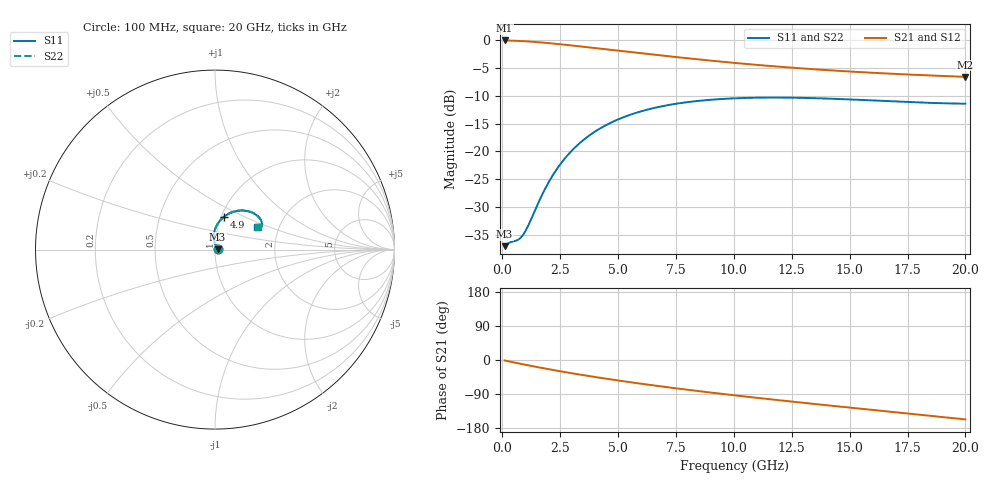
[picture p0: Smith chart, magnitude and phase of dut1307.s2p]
! Touchstone file exported from HFSS 2024.1.0
!  File:  C:/UserFiles/LocalFiles/RDL_TSV_Batchsim/temp_RDL_TSV_1307_1780383729.aedt
!  Generated:  03:18:19 PM Jun  2, 2026
!  Design:  RDL_TSV
!  Project:  temp_RDL_TSV_1307_1780383729
!  Setup:  Setup1
!  Solution:  Sweep
! Variables:
!  dtsv = 8.35um
!  hbump = 3um
!  htsv = 58.99um
!  ldown = 477.18um
!  lrdl = 210.23um
!  p = 40
!  p1 = 41.15um
!  rhole = 10um
!  subl = 2272.46um
!  t = 450um
!  tdown = 4.49um
!  trdl = 3.38um
!  viad = 10um
!  wdown = 25.2um
!  wrdl = 10.06um
!  xbump = 18um
# GHz S MA R 50.000000
! Terminal data exported
! Port[1] = TM1_1_T1
! Port[2] = TM1_4_T1
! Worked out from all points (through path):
!   200 points, 100 MHz to 20 GHz, reference 50 ohm
!   highest |S21| = -0.13 dB at 100 MHz (marker M1); lowest = -6.6 dB at 20 GHz (marker M2)
!   group delay of S21, straight-line fit = 20.7 ps
!   lowest |S11| = -37.0 dB at 100 MHz (marker M3), VSWR 1.03, Z = 51.4 + j0.211 ohm
!   |S11| at or under -10 dB: start of sweep to end of sweep
!   |S22| runs from -37.0 to -10.3 dB; largest |S21 - S12| = 9e-15
!   S11 on the Smith chart (normalised r, x): 100 MHz: 1.03, +0.00; 4.9 GHz: 1.03, +0.39; 20 GHz: 1.54, +0.42
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0.1  0.01419 8.3  0.9857 -1.3  0.9857 -1.3  0.01419 8.3
! Gamma 0 0 0 0
! Port Impedance 50 0 50 0
0.3  0.01524 20.3  0.9835 -3.9  0.9835 -3.9  0.01523 20.3
0.7  0.01627 44.6  0.9765 -8.9  0.9765 -8.9  0.01626 44.7
0.9  0.01793 59.5  0.9718 -11.4  0.9718 -11.4  0.01792 59.6
1.1  0.02125 72.8  0.9662 -13.8  0.9662 -13.8  0.02125 73.0
1.8  0.04424 94.2  0.9413 -22.0  0.9413 -22.0  0.04432 94.4
2.2  0.06211 95.8  0.9247 -26.5  0.9247 -26.5  0.06225 95.9
2.5  0.07659 95.0  0.9115 -29.7  0.9115 -29.7  0.07677 95.1
2.8  0.09153 93.2  0.898 -32.9  0.898 -32.9  0.09175 93.3
3.5  0.1265 87.5  0.8661 -40.0  0.8661 -40.0  0.1268 87.6
4.2  0.1596 81.0  0.8345 -46.7  0.8345 -46.7  0.1601 81.1
4.9  0.1896 74.6  0.8036 -53.1  0.8036 -53.1  0.1901 74.7
5.8  0.2224 67.0  0.7656 -61.0  0.7656 -61.0  0.2232 67.1
6.8  0.2514 59.3  0.726 -69.2  0.726 -69.2  0.2522 59.4
8.4  0.2826 49.0  0.6694 -81.5  0.6694 -81.5  0.2837 49.1
10.1  0.2994 40.4  0.6186 -93.7  0.6186 -93.7  0.3007 40.5
11.7  0.3038 34.2  0.5793 -104.5  0.5793 -104.5  0.3052 34.3
13.4  0.3003 29.6  0.5454 -115.5  0.5454 -115.5  0.3018 29.7
15  0.2922 26.9  0.5196 -125.6  0.5196 -125.6  0.2938 26.9
16.7  0.2817 25.8  0.4976 -136.2  0.4976 -136.2  0.2834 25.8
18.4  0.2725 26.4  0.4796 -146.8  0.4796 -146.8  0.2742 26.5
20  0.2677 28.4  0.4655 -156.8  0.4655 -156.8  0.2694 28.4
